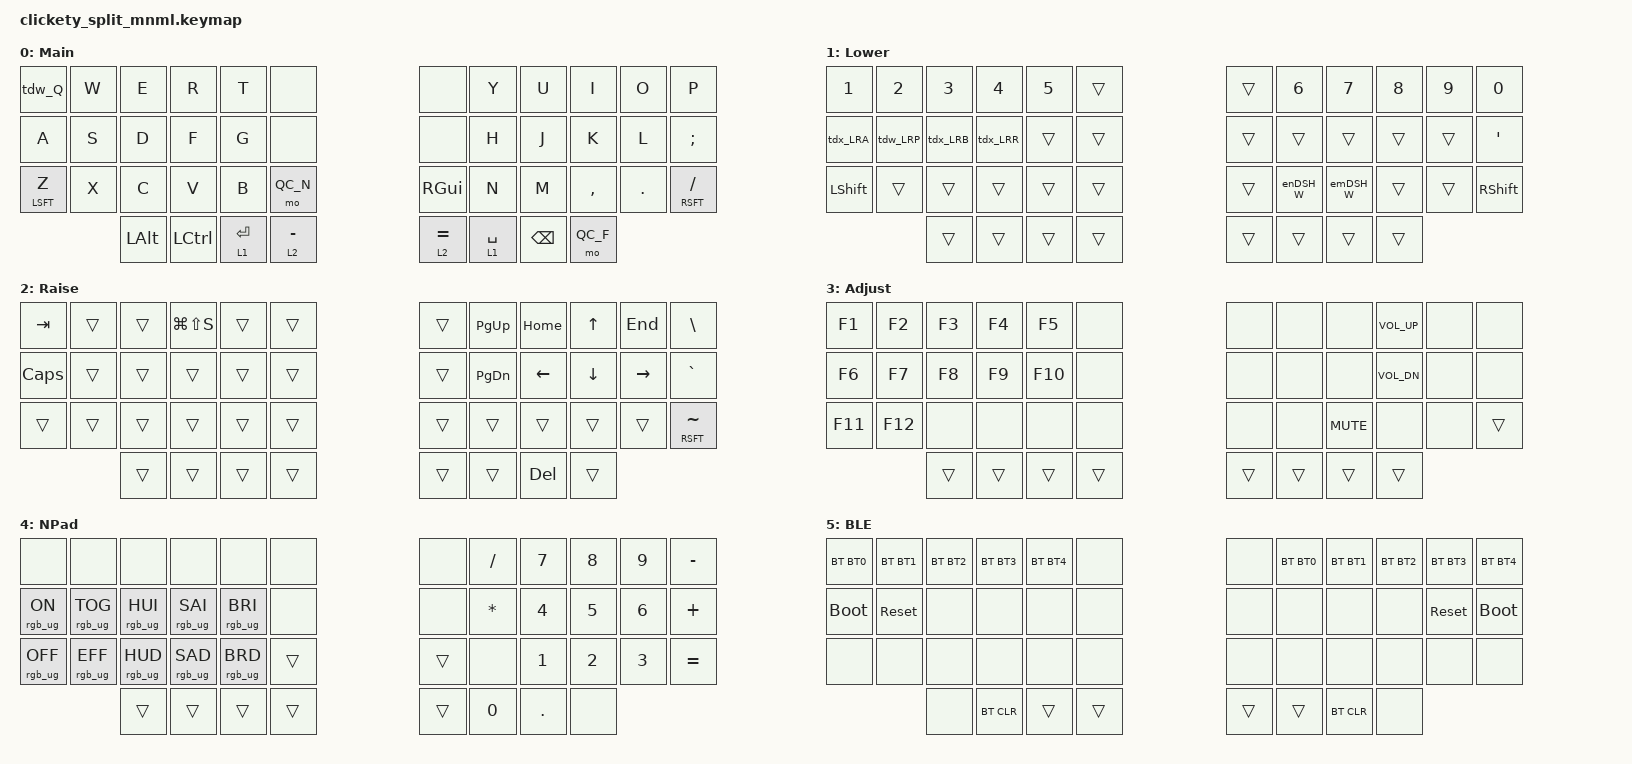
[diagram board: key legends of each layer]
/*
 * Copyright (c) 2024 The ZMK Contributors
 *
 * SPDX-License-Identifier: MIT
 */
#include <behaviors.dtsi>
#include <dt-bindings/zmk/keys.h>
#include <dt-bindings/zmk/bt.h>
#include <dt-bindings/zmk/rgb.h>

// Layers
#define QW_M    0       // Main
#define QW_L    1       // Lower
#define QW_R    2       // Raise
#define QW_A    3       // Adjust

#define QC_N    4       // Number Pad
#define QC_F    5       // Firmware


// Short versions
#define WIN_SC      LG(LS(S))

#define BT0     BT_SEL 0
#define BT1     BT_SEL 1
#define BT2     BT_SEL 2
#define BT3     BT_SEL 3
#define BT4     BT_SEL 4

#define BOOTLDR     &bootloader
#define SYSRSET     &sys_reset

#define VOLUP   C_VOL_UP
#define VOLDN   C_VOL_DN
#define VOLMT   C_MUTE

#define RGBON   &rgb_ug RGB_ON
#define RGBOFF  &rgb_ug RGB_OFF
#define RGBTOG  &rgb_ug RGB_TOG
#define RGBHUI  &rgb_ug RGB_HUI
#define RGBHUD  &rgb_ug RGB_HUD
#define RGBSAI  &rgb_ug RGB_SAI
#define RGBSAD  &rgb_ug RGB_SAD
#define RGBBRI  &rgb_ug RGB_BRI
#define RGBBRD  &rgb_ug RGB_BRD
#define RGBEFF  &rgb_ug RGB_EFF


/ {
    conditional_layers {
        compatible = "zmk,conditional-layers";
        adjust_win_layer {
            if-layers = <1 2>;
            then-layer = <3>;
        };
    };

    combos {
        compatible = "zmk,combos";

        combo_win_esc {
            timeout-ms = <50>;
            key-positions = <0 1>;
            layers = <QW_M>;
            bindings = <&kp ESC>;
        };
    };

    macros {
        enDSH_W: en_Dash {
            compatible = "zmk,behavior-macro";
            #binding-cells = <0>;
            wait-ms = <20>;
            tap-ms = <20>;
            bindings
                = <&macro_press   &kp LALT>
                , <&macro_tap     &kp KP_N0 &kp KP_N1 &kp KP_N5 &kp KP_N0>
                , <&macro_release &kp LALT>
                ;
        };

        emDSH_W: em_Dash {
            compatible = "zmk,behavior-macro";
            #binding-cells = <0>;
            wait-ms = <20>;
            tap-ms = <20>;
            bindings
                = <&macro_press   &kp LALT>
                , <&macro_tap     &kp KP_N0 &kp KP_N1 &kp KP_N5 &kp KP_N1>
                , <&macro_release &kp LALT>
                ;
        };
    };

    behaviors {
        tdw_Q: tap_dance_0 {
            compatible = "zmk,behavior-tap-dance";
            #binding-cells = <0>;
            tapping-term-ms = <200>;
            bindings = <&kp Q>, <&kp LA(F4)>;
        };

        tdx_Q: tap_dance_1 {
            compatible = "zmk,behavior-tap-dance";
            #binding-cells = <0>;
            tapping-term-ms = <200>;
            bindings = <&kp Q>, <&kp LG(Q)>;
        };

        tdw_LRP: tap_dance_2 {
            compatible = "zmk,behavior-tap-dance";
            #binding-cells = <0>;
            tapping-term-ms = <200>;
            bindings = <&kp LPAR>, <&kp RPAR>;
        };

        tdx_LRB: tap_dance_3 {
            compatible = "zmk,behavior-tap-dance";
            #binding-cells = <0>;
            tapping-term-ms = <200>;
            bindings = <&kp LBKT>, <&kp RBKT>;
        };

        tdx_LRR: tap_dance_4 {
            compatible = "zmk,behavior-tap-dance";
            #binding-cells = <0>;
            tapping-term-ms = <200>;
            bindings = <&kp LBRC>, <&kp RBRC>;
        };

        tdx_LRA: tap_dance_5 {
            compatible = "zmk,behavior-tap-dance";
            #binding-cells = <0>;
            tapping-term-ms = <200>;
            bindings = <&kp LT>, <&kp GT>;
        };

        tdx_BOL: tap_dance_6 {
            compatible = "zmk,behavior-tap-dance";
            #binding-cells = <0>;
            tapping-term-ms = <200>;
            bindings = <&kp LG(LEFT)>, <&kp HOME>;
        };

        tdx_EOL: tap_dance_7 {
            compatible = "zmk,behavior-tap-dance";
            #binding-cells = <0>;
            tapping-term-ms = <200>;
            bindings = <&kp LG(RIGHT)>, <&kp END>;
        };
    };

    keymap {
        compatible = "zmk,keymap";

        default_win_layer {
            display-name = " Main";
            bindings = <
&tdw_Q     &kp W      &kp E      &kp R      &kp T      &none                            &none       &kp Y        &kp U     &kp I      &kp O      &kp P
&kp A      &kp S      &kp D      &kp F      &kp G      &none                            &none       &kp H        &kp J     &kp K      &kp L      &kp SEMI
&mt LSFT Z &kp X      &kp C      &kp V      &kp B      &mo QC_N                         &kp RGUI    &kp N        &kp M     &kp COMMA  &kp DOT    &mt RSFT FSLH
                      &kp LALT   &kp LCTRL  &lt 1 RET  &lt 2 MINUS                      &lt 2 EQUAL &lt 1 SPACE  &kp BSPC  &mo QC_F
            >;
        };

        lower_win_layer {
            display-name = " Lower";
            bindings = <
&kp N1     &kp N2     &kp N3     &kp N4     &kp N5     &trans                           &trans     &kp N6     &kp N7     &kp N8     &kp N9     &kp N0
&tdx_LRA   &tdw_LRP   &tdx_LRB   &tdx_LRR   &trans     &trans                           &trans     &trans     &trans     &trans     &trans     &kp QUOT
&kp LSHFT  &trans     &trans     &trans     &trans     &trans                           &trans     &enDSH_W   &emDSH_W   &trans     &trans     &kp RSHFT
                      &trans     &trans     &trans     &trans                           &trans     &trans     &trans     &trans
            >;
        };

        raise_win_layer {
            display-name = " Raise";
            bindings = <
&kp TAB    &trans     &trans     &kp WIN_SC &trans     &trans                           &trans     &kp PG_UP  &kp HOME   &kp UP     &kp END    &kp BSLH
&kp CAPS   &trans     &trans     &trans     &trans     &trans                           &trans     &kp PG_DN  &kp LEFT   &kp DOWN   &kp RIGHT  &kp GRAV
&trans     &trans     &trans     &trans     &trans     &trans                           &trans     &trans     &trans     &trans     &trans     &mt RSFT TILDE
                      &trans     &trans     &trans     &trans                           &trans     &trans     &kp DEL    &trans
            >;
        };

        adjust_win_layer {
            display-name = " Adjust";
            bindings = <
&kp F1     &kp F2     &kp F3     &kp F4     &kp F5     &none                            &none      &none      &none      &kp VOLUP  &none      &none
&kp F6     &kp F7     &kp F8     &kp F9     &kp F10    &none                            &none      &none      &none      &kp VOLDN  &none      &none
&kp F11    &kp F12    &none      &none      &none      &none                            &none      &none      &kp VOLMT  &none      &none      &trans
                      &trans     &trans     &trans     &trans                           &trans     &trans     &trans     &trans
            >;
        };

        numpad_layer {
            display-name = " NPad";
            bindings = <
&none      &none      &none      &none      &none      &none                            &none      &kp SLASH  &kp N7     &kp N8     &kp N9     &kp MINUS
RGBON      RGBTOG     RGBHUI     RGBSAI     RGBBRI     &none                            &none      &kp ASTRK  &kp N4     &kp N5     &kp N6     &kp PLUS
RGBOFF     RGBEFF     RGBHUD     RGBSAD     RGBBRD     &trans                           &trans     &none      &kp N1     &kp N2     &kp N3     &kp EQUAL
                      &trans     &trans     &trans     &trans                           &trans     &kp N0     &kp DOT    &none
            >;
        };

        firmware_layer {
            display-name = " BLE";
            bindings = <
&bt BT0     &bt BT1  &bt BT2    &bt BT3    &bt BT4     &none                            &none      &bt BT0    &bt BT1    &bt BT2    &bt BT3    &bt BT4
BOOTLDR     SYSRSET  &none      &none      &none       &none                            &none      &none      &none      &none      SYSRSET    BOOTLDR
&none       &none    &none      &none      &none       &none                            &none      &none      &none      &none      &none      &none
                     &none      &bt BT_CLR &trans      &trans                           &trans     &trans     &bt BT_CLR &none
            >;
        };
    };
};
